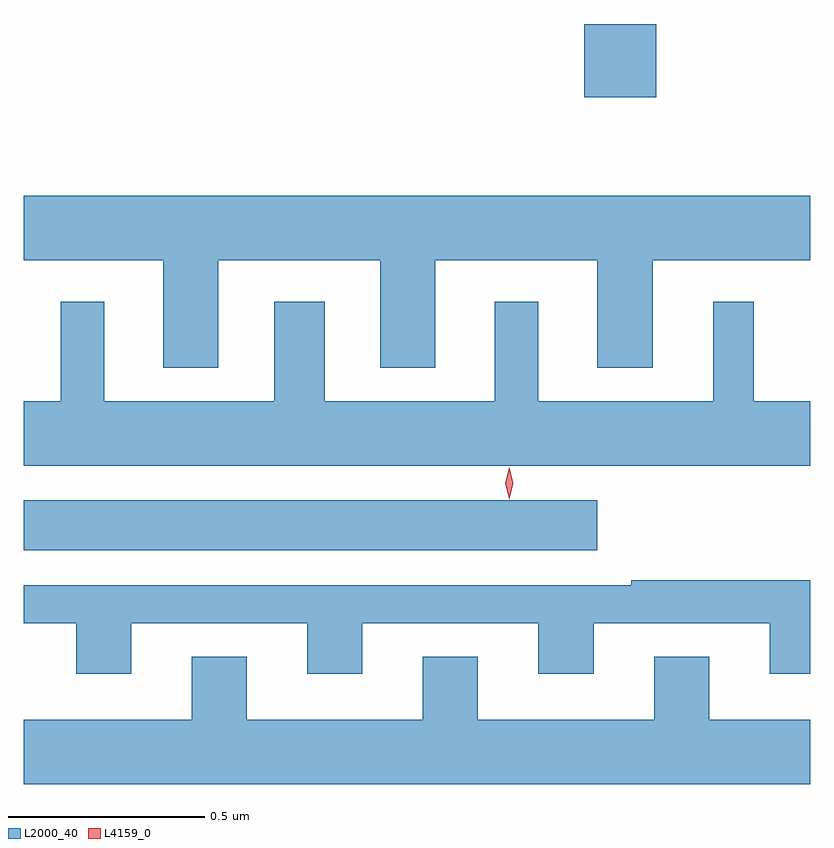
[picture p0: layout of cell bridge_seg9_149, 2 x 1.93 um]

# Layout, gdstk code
import gdstk
lib = gdstk.Library(unit=1e-6, precision=1e-09)
def R(c, l, rs):  # rectangles x0, y0, x1, y1
    for r in rs: c.add(gdstk.rectangle(r[:2], r[2:], *l))
def P(c, l, *ps):  # polygons
    for p in ps: c.add(gdstk.Polygon(p, *l))
L2000_40 = (2000, 40)
L4159_0 = (4159, 0)

bridge_seg9_149 = lib.new_cell('bridge_seg9_149')
R(bridge_seg9_149, L2000_40, [(573.94,1190.354,575.398,1190.482), (575.366,1191.507,575.549,1191.693)])
P(bridge_seg9_149, L2000_40, [(574.435,1191.092),(574.847,1191.092),(574.847,1190.819),(574.987,1190.819),(574.987,1191.092),(575.399,1191.092),(575.399,1190.819),(575.539,1190.819),(575.539,1191.092),(575.94,1191.092),(575.94,1191.256),(573.94,1191.256),(573.94,1191.092),(574.295,1191.092),(574.295,1190.819),(574.435,1190.819)],
  [(575.94,1190.734),(575.797,1190.734),(575.797,1190.986),(575.693,1190.986),(575.693,1190.734),(575.248,1190.734),(575.248,1190.986),(575.138,1190.986),(575.138,1190.734),(574.705,1190.734),(574.705,1190.986),(574.577,1190.986),(574.577,1190.734),(574.144,1190.734),(574.144,1190.986),(574.034,1190.986),(574.034,1190.734),(573.94,1190.734),(573.94,1190.57),(575.94,1190.57)],
  [(574.213,1190.169),(574.661,1190.169),(574.661,1190.04),(574.801,1190.04),(574.801,1190.169),(575.249,1190.169),(575.249,1190.04),(575.389,1190.04),(575.389,1190.169),(575.837,1190.169),(575.837,1190.04),(575.94,1190.04),(575.94,1190.278),(575.485,1190.278),(575.485,1190.265),(573.94,1190.265),(573.94,1190.169),(574.073,1190.169),(574.073,1190.04),(574.213,1190.04)],
  [(575.94,1189.924),(575.683,1189.924),(575.683,1190.084),(575.543,1190.084),(575.543,1189.924),(575.095,1189.924),(575.095,1190.084),(574.955,1190.084),(574.955,1189.924),(574.507,1189.924),(574.507,1190.084),(574.367,1190.084),(574.367,1189.924),(573.94,1189.924),(573.94,1189.76),(575.94,1189.76)])
P(bridge_seg9_149, L4159_0, [(575.175,1190.484),(575.175,1190.484),(575.165,1190.525),(575.174,1190.566),(575.175,1190.566),(575.175,1190.566),(575.185,1190.525),(575.175,1190.484)])

lib.write_gds('bridge_seg9_149.gds')
